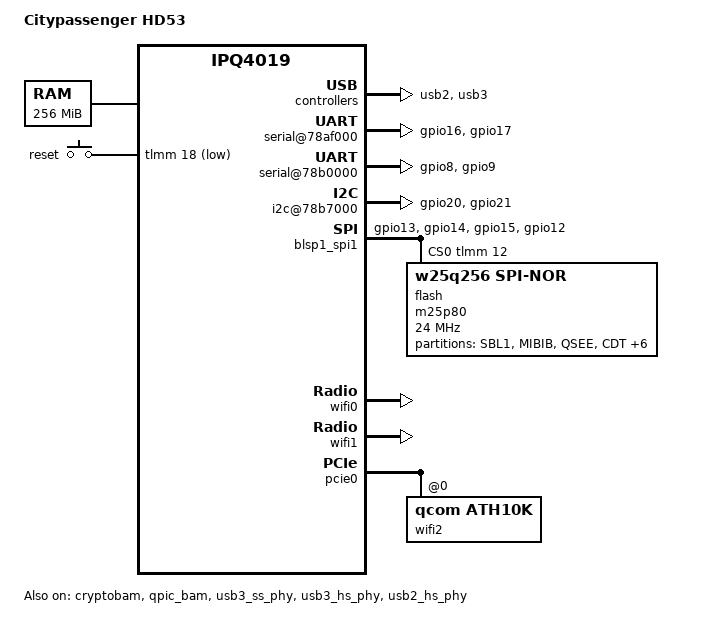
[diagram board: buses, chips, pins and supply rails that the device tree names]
/* SPDX-License-Identifier: GPL-2.0-or-later OR MIT
 *
 * Copyright (c) 2019 Falempin Sven <sf@citypassenger.com>
 *
 */

#include "qcom-ipq4019.dtsi"
#include <dt-bindings/gpio/gpio.h>
#include <dt-bindings/input/input.h>
#include <dt-bindings/soc/qcom,tcsr.h>

/ {

	model = "Citypassenger HD53";
	compatible = "ipq40xx-apdk04.1-c1", "qcom,ipq40xx-apdk04.1", "qcom,ipq40xx", "citypassenger-hd53";

	memory {
		device_type = "memory";
		reg = <0x80000000 0x10000000>; /* 256MB */
	};

	/* ? BROKE EVERYTHING ! */
	//reserved-memory {
	//	ranges;
	//	rsvd1@87000000 {
	//		/* Reserved for other subsystem */
	//		reg = <0x87000000 0x500000>;
	//		no-map;
	//	};
	//	wifi_dump@87500000 {
	//		reg = <0x87500000 0x600000>;
	//		no-map;
	//	};
	//	rsvd2@87B00000 {
	//		/* Reserved for other subsystem */
	//		reg = <0x87B00000 0x500000>;
	//		no-map;
	//	};
	//};

	/* IS clock Broken ? */
	//chosen {
	//	bootargs-append = " clk_ignore_unused";
	//};

	soc {
		rng@22000 {
			status = "okay";
		};

		// 4 septembre USA => bugged removed test
		// mdio@90000 {
		// 	status = "okay";
		// 	pinctrl-0 = <&mdio_pins>;
		// 	pinctrl-names = "default";
		// 	phy-reset-gpio = <&tlmm 47 0>;
		// 	bias-disable;
		// };

		// UsELESS ???
		//ess-psgmii@98000 {
		//	status = "okay";
		//};
//
		//tcsr@1949000 {
		//	compatible = "qcom,tcsr";
		//	reg = <0x1949000 0x100>;
		//	qcom,wifi_glb_cfg = <TCSR_WIFI_GLB_CFG>;
		//};
//
		//tcsr@194b000 {
		//	/* select hostmode */
		//	compatible = "qcom,tcsr";
		//	reg = <0x194b000 0x100>;
		//	qcom,usb-hsphy-mode-select = <TCSR_USB_HSPHY_HOST_MODE>;
		//	status = "okay";
		//};
//
		//ess_tcsr@1953000 {
		//	compatible = "qcom,tcsr";
		//	reg = <0x1953000 0x1000>;
		//	qcom,ess-interface-select = <TCSR_ESS_PSGMII>;
		//};
//
		//tcsr@1957000 {
		//	compatible = "qcom,tcsr";
		//	reg = <0x1957000 0x100>;
		//	qcom,wifi_noc_memtype_m0_m2 = <TCSR_WIFI_NOC_MEMTYPE_M0_M2>;
		//};

		usb2: usb2@60f8800 {
			status = "okay";

			dwc3@6000000 {
				#address-cells = <1>;
				#size-cells = <0>;

				usb2_port1: port@1 {
					reg = <1>;
					#trigger-source-cells = <0>;
				};
			};
		};

		serial@78af000 {
			pinctrl-0 = <&serial_0_pins>;
			pinctrl-names = "default";
			status = "okay";
		};

		serial@78b0000 {
			pinctrl-0 = <&serial_1_pins>;
			pinctrl-names = "default";
			status = "okay";
		};

		i2c@78b7000 { /* BLSP1 QUP2 */
			pinctrl-0 = <&i2c_0_pins>;
			pinctrl-names = "default";

			status = "okay";
		};

		usb3: usb3@8af8800 {
			status = "okay";
		};

		crypto@8e3a000 {
			status = "okay";
		};

		watchdog@b017000 {
			status = "okay";
		};

		ess-switch@c000000 {
			status = "okay";
		};

		edma@c080000 {
			status = "okay";
		};

		keys {
			compatible = "gpio-keys";

			reset {
				label = "reset";
				gpios = <&tlmm 18 GPIO_ACTIVE_LOW>;
				linux,code = <KEY_RESTART>;
			};
		};
	};
};


&blsp1_spi1 {
	pinctrl-0 = <&spi_0_pins>;
	pinctrl-names = "default";
	status = "okay";
	reg-names = "spi_physical", "spi_bam_physical";
	reg = <0x78b5000 0x600>, <0x7884000 0x23000>;
	spi-max-frequency = <24000000>;
/* from base example , instead of gpio 12 in spi_0_pins */
	cs-gpios = <&tlmm 12 GPIO_ACTIVE_HIGH>;
/* Activating clock brok more ~
[    1.122619] spi_qup: probe of 78b5000.spi failed with error -2
*/
	// clocks = <&gcc GCC_BLSP1_QUP1_SPI_APPS_CLK>, <&gcc GCC_BLSP1_AHB_CLK>;
	// clock-names = "core_clk", "iface_clk";
	flash: m25p80@0 {
		#address-cells = <1>;
		#size-cells = <1>;
		reg = <0>;
		compatible = "w25q256,spi-nor";
		linux,modalias = "m25p80", "w25q256", "n25q128a11";
		spi-max-frequency = <24000000>;
		partitions {
			compatible = "fixed-partitions";
			partition@0 {
				label = "SBL1";
				reg = <0x0 0x40000>;
				read-only;
			};

			partition@40000 {
				label = "MIBIB";
				reg = <0x40000 0x20000>;
				read-only;
			};

			partition@60000 {
				label = "QSEE";
				reg = <0x60000 0x60000>;
				read-only;
			};

			partition@c0000 {
				label = "CDT";
				reg = <0xc0000 0x10000>;
				read-only;
			};

			partition@d0000 {
				label = "DDRPARAMS";
				reg = <0xd0000 0x10000>;
				read-only;
			};

			partition@e0000 {
				label = "APPSBLENV";
				reg = <0xe0000 0x10000>;
				read-only;
			};

			partition@f0000 {
				label = "APPSBL";
				reg = <0xf0000 0x80000>;
				read-only;
			};

			partition@170000 {
				label = "ART";
				reg = <0x170000 0x10000>;
				read-only;
			};

			partition@180000 {
				label = "HLOS";
				reg = <0x180000 0x400000>; // trying to let openwrt do his thingy\
				// reg = <0x180000 0x1A00000>;
				// compatible = "denx,fit";
				// read-only;
			};

			// trying to let openwrt do his thingy
			partition@580000 {
				label = "firmware";
				compatible = "squashfs,jffs2";
				// compatible = "denx,uimage";
				// read-only;
				reg = <0x580000 0x1600000>;
			};

			// DONT DO  THIS apparently
			//overlay@006d0000 {
			//	label = "overlay";
			//	reg = <0x006d0000 00010000>;
			//};
		};
	};
};

&blsp_dma {
	status = "okay";
};

&cryptobam {
	status = "okay";
};

&qpic_bam {
	status = "okay";
};

&tlmm {
	i2c_0_pins: i2c-0-pinmux {
		mux {
			pins = "gpio20", "gpio21";
			function = "blsp_i2c0";
			bias-disable;
		};
	};
	// sd_0_pins: sd_0_pinmux {
	// 	sd0 {
	// 		pins = "gpio23";
	// 		function = "sdio0";
	// 		pull-res = <RES_35_KOHM>;
	// 		drive-type = <DRV_TYPE_C>;
	// 		vm-enable;
	// 	};
	// 	sd1 {
	// 		pins = "gpio24";
	// 		function = "sdio1";
	// 		pull-res = <RES_35_KOHM>;
	// 		drive-type = <DRV_TYPE_C>;
	// 		vm-enable;
	// 	};
	// 	sd2 {
	// 		pins = "gpio25";
	// 		function = "sdio2";
	// 		pull-res = <RES_35_KOHM>;
	// 		drive-type = <DRV_TYPE_C>;
	// 		vm-enable;
	// 	};
	// 	sd3 {
	// 		pins = "gpio26";
	// 		function = "sdio3";
	// 		pull-res = <RES_35_KOHM>;
	// 		drive-type = <DRV_TYPE_C>;
	// 		vm-enable;
	// 	};
	// 	sdclk {
	// 		pins = "gpio27";
	// 		function = "sdio_clk";
	// 		pull-res = <RES_35_KOHM>;
	// 		drive-type = <DRV_TYPE_A>;
	// 		vm-enable;
	// 	};
	// 	sdcmd {
	// 		pins = "gpio28";
	// 		function = "sdio_cmd";
	// 		pull-res = <RES_35_KOHM>;
	// 		drive-type = <DRV_TYPE_C>;
	// 		vm-enable;
	// 	};
	// 	sd4 {
	// 		pins = "gpio29";
	// 		function = "sdio4";
	// 		pull-res = <RES_35_KOHM>;
	// 		drive-type = <DRV_TYPE_C>;
	// 		vm-enable;
	// 	};
	// 	sd5 {
	// 		pins = "gpio30";
	// 		function = "sdio5";
	// 		pull-res = <RES_35_KOHM>;
	// 		drive-type = <DRV_TYPE_C>;
	// 		vm-enable;
	// 	};
	// 	sd6 {
	// 		pins = "gpio31";
	// 		function = "sdio6";
	// 		pull-res = <RES_35_KOHM>;
	// 		drive-type = <DRV_TYPE_C>;
	// 		vm-enable;
	// 	};
	// 	sd7 {
	// 		pins = "gpio32";
	// 		function = "sdio7";
	// 		pull-res = <RES_35_KOHM>;
	// 		drive-type = <DRV_TYPE_C>;
	// 		vm-enable;
	// 	};
	// };
	ts_0_pins: ts_0_pinmux {
		mux_1 {
			pins = "gpio34";
			output-high;
		};
		mux_2 {
			pins= "gpio35";
			input-enable;
			bias-pull-up;
		};
	};

	mdio_pins: mdio_pinmux {
		mux_1 {
			pins = "gpio6";
			function = "mdio";
			bias-pull-up;
		};
		mux_2 {
			pins = "gpio7";
			function = "mdc";
			bias-pull-up;
		};
	};

	serial_0_pins: serial0-pinmux {
		mux {
			pins = "gpio16", "gpio17";
			function = "blsp_uart0";
			bias-disable;
		};
	};

	serial_1_pins: serial1_pinmux {
		mux {
			pins = "gpio8", "gpio9";
			function = "blsp_uart1";
			bias-disable;
		};
	};


	spi_0_pins: spi_0_pinmux {
		pinmux {
			function = "blsp_spi0";
			pins = "gpio13", "gpio14", "gpio15";
		};
		pinmux_cs {
			function = "gpio";
			pins = "gpio12";
		};
		pinconf {
			pins = "gpio13", "gpio14", "gpio15";
			drive-strength = <12>;
			bias-disable;
		};
		pinconf_cs {
			pins = "gpio12";
			drive-strength = <2>;
			bias-disable;
			output-high;
		};
	};
};

&usb3_ss_phy {
	status = "okay";
};

&usb3_hs_phy {
	status = "okay";
};

&usb2_hs_phy {
	status = "okay";
};

&wifi0 {
	status = "okay";
	wifi_led_num = <2>;         /* Wifi 2G */
	wifi_led_source = <0>;      /* source id 0 */
	qcom,mtd-name = "0:ART";
	qcom,cal-offset = <0x1000>;
	qcom,cal-len = <12064>;
};

&wifi1 {
	status = "okay";
	wifi_led_num = <1>;         /* Wifi 5G */
	wifi_led_source = <2>;      /* source id 2 */
	qcom,mtd-name = "0:ART";
	qcom,cal-offset = <0x5000>;
	qcom,cal-len = <12064>;
	ieee80211-freq-limit = <5470000 5875000>;
};

&pcie0 {
	status = "okay";
	perst-gpio = <&tlmm 38 GPIO_ACTIVE_LOW>;
	wake-gpio = <&tlmm 40 GPIO_ACTIVE_LOW>;
	clkreq-gpio = <&tlmm 39 0>;

	bridge@0,0 {
		reg = <0x00000000 0 0 0 0>;
		#address-cells = <3>;
		#size-cells = <2>;
		ranges;

		wifi2: wifi@0,0 {
			compatible = "qcom,ath10k";
			status = "okay";
			reg = <0 0 0 0 0>;
			qcom,mtd-name = "0:ART";
			qcom,cal-offset = <0x9000>;
			qcom,cal-len = <12064>;
			ieee80211-freq-limit = <5170000 5350000>;
		};
	};
};

